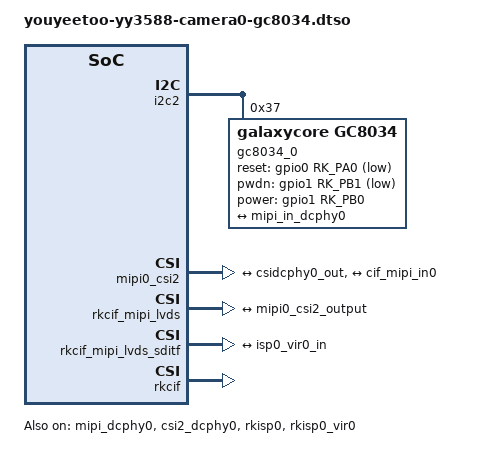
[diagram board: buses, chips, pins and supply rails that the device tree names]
/dts-v1/;
/plugin/;

#include <dt-bindings/clock/rk3588-cru.h>
#include <dt-bindings/gpio/gpio.h>
#include <dt-bindings/pinctrl/rockchip.h>
#include <dt-bindings/power/rk3588-power.h>

/ {
	metadata {
		title = "Enable GC8034 Camera 0 on Youyeetoo YY3588";
		compatible = "youyeetoo,yy3588";
		category = "camera";
		description = "Enable GC8034 8MP camera sensor on CSI0 (front camera)";
	};

	fragment@0 {
		target = <&i2c2>;

		__overlay__ {
			status = "okay";
			pinctrl-names = "default";
			pinctrl-0 = <&i2c2m4_xfer>;
			#address-cells = <1>;
			#size-cells = <0>;

			gc8034_0: gc8034@37 {
				status = "okay";
				compatible = "galaxycore,gc8034";
				reg = <0x37>;
				clocks = <&cru CLK_MIPI_CAMARAOUT_M1>;
				clock-names = "xvclk";
				power-domains = <&power RK3588_PD_VI>;
				pinctrl-names = "default";
				pinctrl-0 = <&mipim0_camera1_clk>;
				rockchip,grf = <&sys_grf>;
				reset-gpios = <&gpio0 RK_PA0 GPIO_ACTIVE_LOW>;
				pwdn-gpios = <&gpio1 RK_PB1 GPIO_ACTIVE_LOW>;
				power-gpios = <&gpio1 RK_PB0 GPIO_ACTIVE_HIGH>;

				rockchip,camera-module-index = <0>;
				rockchip,camera-module-facing = "front";
				rockchip,camera-module-name = "RK-CMK-8M-2-v1";
				rockchip,camera-module-lens-name = "CK8401";

				port {
					gc8034_0_out: endpoint {
						remote-endpoint = <&mipi_in_dcphy0>;
						data-lanes = <1 2 3 4>;
					};
				};
			};
		};
	};

	fragment@1 {
		target = <&mipi_dcphy0>;

		__overlay__ {
			status = "okay";
		};
	};

	fragment@2 {
		target = <&csi2_dcphy0>;

		__overlay__ {
			status = "okay";

			ports {
				#address-cells = <1>;
				#size-cells = <0>;

				port@0 {
					reg = <0>;
					#address-cells = <1>;
					#size-cells = <0>;

					mipi_in_dcphy0: endpoint@1 {
						reg = <1>;
						remote-endpoint = <&gc8034_0_out>;
						data-lanes = <1 2 3 4>;
					};
				};

				port@1 {
					reg = <1>;
					#address-cells = <1>;
					#size-cells = <0>;

					csidcphy0_out: endpoint@0 {
						reg = <0>;
						remote-endpoint = <&mipi0_csi2_input>;
					};
				};
			};
		};
	};

	fragment@3 {
		target = <&mipi0_csi2>;

		__overlay__ {
			status = "okay";

			ports {
				#address-cells = <1>;
				#size-cells = <0>;

				port@0 {
					reg = <0>;
					#address-cells = <1>;
					#size-cells = <0>;

					mipi0_csi2_input: endpoint@1 {
						reg = <1>;
						remote-endpoint = <&csidcphy0_out>;
					};
				};

				port@1 {
					reg = <1>;
					#address-cells = <1>;
					#size-cells = <0>;

					mipi0_csi2_output: endpoint@0 {
						reg = <0>;
						remote-endpoint = <&cif_mipi_in0>;
					};
				};
			};
		};
	};

	fragment@4 {
		target = <&rkcif_mipi_lvds>;

		__overlay__ {
			status = "okay";

			port {
				cif_mipi_in0: endpoint {
					remote-endpoint = <&mipi0_csi2_output>;
				};
			};
		};
	};

	fragment@5 {
		target = <&rkcif_mipi_lvds_sditf>;

		__overlay__ {
			status = "okay";

			port {
				mipi_lvds_sditf: endpoint {
					remote-endpoint = <&isp0_vir0_in>;
				};
			};
		};
	};

	fragment@6 {
		target = <&rkcif>;

		__overlay__ {
			status = "okay";
		};
	};

	fragment@7 {
		target = <&rkcif_mmu>;

		__overlay__ {
			status = "okay";
		};
	};

	fragment@8 {
		target = <&rkisp0>;

		__overlay__ {
			status = "okay";
		};
	};

	fragment@9 {
		target = <&isp0_mmu>;

		__overlay__ {
			status = "okay";
		};
	};

	fragment@10 {
		target = <&rkisp0_vir0>;

		__overlay__ {
			status = "okay";

			port {
				#address-cells = <1>;
				#size-cells = <0>;

				isp0_vir0_in: endpoint@0 {
					reg = <0>;
					remote-endpoint = <&mipi_lvds_sditf>;
				};
			};
		};
	};

	fragment@11 {
		target = <&pinctrl>;

		__overlay__ {
			camera {
				camera0_ctl: camera0-ctl {
					rockchip,pins =
						<0 RK_PA0 RK_FUNC_GPIO &pcfg_pull_none>,
						<1 RK_PB1 RK_FUNC_GPIO &pcfg_pull_none>,
						<1 RK_PB0 RK_FUNC_GPIO &pcfg_pull_none>;
				};
			};
		};
	};
};
